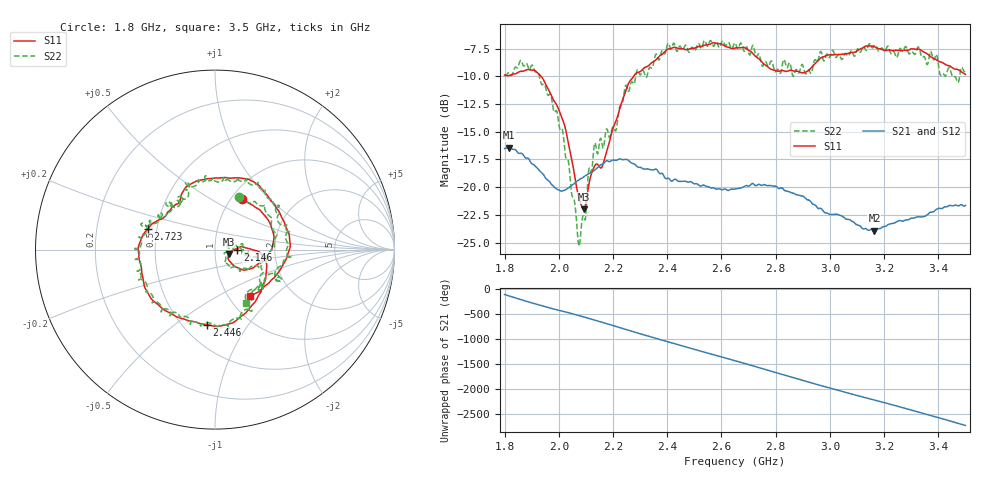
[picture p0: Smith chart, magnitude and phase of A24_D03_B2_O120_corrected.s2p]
! Created with skrf 1.9.0 (http://scikit-rf.org).
# Hz S RI R 50.0
!freq ReS11 ImS11 ReS21 ImS21 ReS12 ImS12 ReS22 ImS22
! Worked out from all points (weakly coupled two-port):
!   1601 points, 1.8 GHz to 3.5 GHz, reference 50 ohm
!   highest |S21| = -16.42 dB at 1.817 GHz (marker M1); lowest = -23.9 dB at 3.164 GHz (marker M2)
!   lowest |S11| = -22.0 dB at 2.091 GHz (marker M3), VSWR 1.17, Z = 58.1 - j2.89 ohm
!   |S11| at or under -10 dB: 1.935 GHz to 2.276 GHz (340.7 MHz wide, 16.2 % of centre)
!   |S22| runs from -25.3 to -6.8 dB; largest |S21 - S12| = 0.0026
!   S11 on the Smith chart (normalised r, x): 1.8 GHz: 1.13, +0.71; 2.146 GHz: 1.29, +0.00; 2.446 GHz: 0.65, -0.66; 2.723 GHz: 0.44, +0.12; 3.5 GHz: 1.25, -0.72
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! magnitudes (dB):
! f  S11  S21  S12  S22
! 1.8 GHz  -9.9  -16.5  -16.5  -9.9
! 1.817 GHz  -9.9  -16.4  -16.4  -9.7
! 1.903 GHz  -9.4  -17.9  -17.9  -9.0
! 1.968 GHz  -11.5  -19.6  -19.6  -11.6
! 2.015 GHz  -13.9  -20.3  -20.4  -15.0
! 2.072 GHz  -20.7  -19.4  -19.4  -25.1
! 2.084 GHz  -21.7  -19.2  -19.2  -23.3
! 2.091 GHz  -22.0  -19.1  -19.1  -22.6
! 2.113 GHz  -19.4  -18.7  -18.8  -18.3
! 2.146 GHz  -18.0  -18.2  -18.1  -16.6
! 2.209 GHz  -14.1  -17.6  -17.5  -14.9
! 2.259 GHz  -10.5  -17.6  -17.6  -11.3
! 2.367 GHz  -8.3  -18.6  -18.6  -8.5
! 2.446 GHz  -7.5  -19.5  -19.5  -7.3
! 2.65 GHz  -7.5  -20.2  -20.1  -7.0
! 2.723 GHz  -8.1  -19.8  -19.8  -7.8
! 2.934 GHz  -9.1  -21.5  -21.4  -9.6
! 3.164 GHz  -7.3  -23.9  -23.9  -7.2
! 3.217 GHz  -7.6  -23.4  -23.3  -7.4
! 3.375 GHz  -8.3  -22.3  -22.3  -7.9
! 3.469 GHz  -9.4  -21.6  -21.6  -10.4
! 3.5 GHz  -9.8  -21.6  -21.6  -9.3
